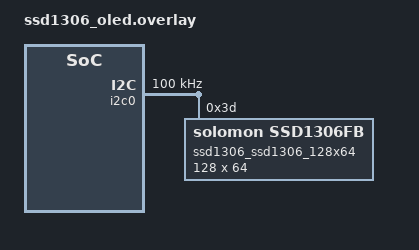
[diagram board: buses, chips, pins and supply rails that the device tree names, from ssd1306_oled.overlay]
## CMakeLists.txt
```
#
# Copyright (c) 2021 Nordic Semiconductor
#
# SPDX-License-Identifier: LicenseRef-Nordic-5-Clause
#
cmake_minimum_required(VERSION 3.20)

find_package(Zephyr REQUIRED HINTS $ENV{ZEPHYR_BASE})
#set(SHIELD ssd1306_128x64)
project(nrf_dm)

include_directories(src/inc)

# NORDIC SDK APP START
target_sources(app PRIVATE
  src/main.c
  src/scan.c
  src/peer.c
  src/color.c
)

target_sources_ifdef(CONFIG_DISTANCE_DISPLAY_OLED app PRIVATE src/display.c src/logo.c)
# NORDIC SDK APP END

zephyr_library_include_directories(${CMAKE_CURRENT_SOURCE_DIR})
```

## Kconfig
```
config INDICATOR_LED_SATURATION
    int "Indicator LED saturation in hundredths"
    default 90
config INDICATOR_LED_LUMINANCE
    int "Indicator LED luminance in hundredths"
    default 40

config DM_PEER_DELAY_MS
    int "DM Peer Delay (ms)"
    default 1000

config DM_MCPD_DISTANCE_OFFSET_CM
    int "DM Distance Offset (cm)"
    default 0

config DM_RTT_DISTANCE_OFFSET_CM
    int "DM Distance Offset (cm)"
    default 0

config DISTANCE_DISPLAY_OLED
    bool "Display distance on OLED"
    imply I2C
    select DISPLAY
    imply LVGL
    imply LV_MEM_CUSTOM
    imply LV_MEM_CUSTOM
    imply LV_USE_LOG
    imply LV_USE_LABEL
    imply LV_USE_BTN
    imply LV_USE_ARC
    imply LV_USE_IMG
    imply LV_FONT_MONTSERRAT_14
    imply LV_USE_THEME_DEFAULT
    imply LV_THEME_DEFAULT_DARK

source "Kconfig.zephyr"
```

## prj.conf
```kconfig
#
# Copyright (c) 2021 Nordic Semiconductor ASA
#
# SPDX-License-Identifier: LicenseRef-Nordic-5-Clause
#

CONFIG_LOG=y
CONFIG_LOG_MODE_MINIMAL=n

CONFIG_NEWLIB_LIBC_FLOAT_PRINTF=y
CONFIG_NEWLIB_LIBC_FLOAT_SCANF=y

# BT
CONFIG_BT=y
CONFIG_BT_DEBUG_LOG=y

CONFIG_BT_OBSERVER=y
CONFIG_BT_CENTRAL=y

CONFIG_BT_SCAN=y
CONFIG_BT_SCAN_FILTER_ENABLE=y
CONFIG_BT_SCAN_UUID_CNT=12
CONFIG_BT_SCAN_WITH_IDENTITY=y
CONFIG_BT_ID_MAX=1

CONFIG_BT_EXT_ADV=y

CONFIG_BT_DEVICE_NAME="nRF_DM"
CONFIG_BT_DDFS=y

# Distance Measurement
CONFIG_DM_MODULE=y
CONFIG_NEWLIB_LIBC=y

CONFIG_MPSL=y
CONFIG_MPSL_TIMESLOT_SESSION_COUNT=1

CONFIG_PWM=y

CONFIG_DM_HIGH_PRECISION_CALC=y
CONFIG_DM_GPIO_DEBUG=n

CONFIG_ZBUS=y
CONFIG_ZBUS_CHANNEL_NAME=y

CONFIG_SYS_HASH_FUNC32=y
CONFIG_SYS_HASH_FUNC32_MURMUR3=y

CONFIG_DM_MODULE_LOG_LEVEL_DBG=y
CONFIG_LOG_MODE_DEFERRED=y

CONFIG_DM_MCPD_DISTANCE_OFFSET_CM=128
CONFIG_DM_RTT_DISTANCE_OFFSET_CM=-550
#CONFIG_DM_INITIATOR_DELAY_US=250

CONFIG_INPUT=y
```

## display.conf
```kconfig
# Enable display
CONFIG_DISTANCE_DISPLAY_OLED=y
CONFIG_MAIN_STACK_SIZE=2048
CONFIG_LV_Z_MEM_POOL_SIZE=16384

# Display configuration
CONFIG_LV_Z_VDB_SIZE=64
CONFIG_LV_DPI_DEF=148
CONFIG_LV_Z_BITS_PER_PIXEL=1
CONFIG_LV_COLOR_DEPTH_1=y
```

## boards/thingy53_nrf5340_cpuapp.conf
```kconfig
#
# Copyright (c) 2022 Nordic Semiconductor
#
# SPDX-License-Identifier: LicenseRef-Nordic-5-Clause
#

# Distance Measurement
CONFIG_DM_MODULE_RPC=y
CONFIG_DM_MODULE_RPC_CLIENT=y

CONFIG_TEST_RANDOM_GENERATOR=y
CONFIG_MPSL=n

# NRF RPC
CONFIG_NRF_RPC_THREAD_POOL_SIZE=2

# SYSTEM WORKQUEUE
CONFIG_SYSTEM_WORKQUEUE_STACK_SIZE=3072

# NRF LOG
CONFIG_BOARD_SERIAL_BACKEND_CDC_ACM=y

CONFIG_RPMSG_NRF53_SRAM_SIZE=0x10000
```

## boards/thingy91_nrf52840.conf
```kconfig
CONFIG_BT_HCI=n
```

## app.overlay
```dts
/*
 * Copyright (c) 2023 Nordic Semiconductor ASA
 *
 * SPDX-License-Identifier: LicenseRef-Nordic-5-Clause
 */

/ {
	/* The timer instance to use. */
	chosen {
		ncs,dm-timer = &timer2;
	};

	/* The selected pins will be used by Distance Measurement module for debug purposes. */
	dm_gpio {
		compatible = "gpio-leds";
		dm_ranging: dm-ranging {
			gpios = <&gpio0 14 GPIO_ACTIVE_LOW>;
			label = "DM Ranging Pin";
		};
		dm_add_request: dm-add-request {
			gpios = <&gpio0 12 GPIO_ACTIVE_LOW>;
			label = "DM Add request Pin";
		};
	};
};
```

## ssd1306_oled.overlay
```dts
/ {
    chosen {
         zephyr,display = &ssd1306_ssd1306_128x64;
    };
};

arduino_i2c: &i2c0 {
	compatible = "nordic,nrf-twim";
	status = "okay";
	clock-frequency = <I2C_BITRATE_STANDARD>;

	pinctrl-0 = <&i2c0_default>;
	pinctrl-1 = <&i2c0_sleep>;
	pinctrl-names = "default", "sleep";
	zephyr,concat-buf-size = <1024>;	

    ssd1306_ssd1306_128x64: ssd1306@3d {
		compatible = "solomon,ssd1306fb";
		reg = <0x3d>;
		width = <128>;
		height = <64>;
		segment-offset = <0>;
		page-offset = <0>;
		display-offset = <0>;
		multiplex-ratio = <63>;
		segment-remap;
		com-invdir;
		prechargep = <0x22>;
	};
};
```

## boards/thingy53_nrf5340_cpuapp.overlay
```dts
/*
 * Copyright (c) 2023 Nordic Semiconductor ASA
 *
 * SPDX-License-Identifier: LicenseRef-Nordic-5-Clause
 */

 #include <zephyr/dt-bindings/ipc_service/static_vrings.h>

 &spi4 {
    status = "disabled";
 };

 / {
     chosen {
         /delete-property/ zephyr,ipc_shm;
     };

     reserved-memory {
         /delete-node/ memory@20070000;
 
         sram_ipc0: memory@20070000 {
             reg = <0x20070000 0x8000>;
         };
 
         sram_ipc1: memory@20078000 {
             reg = <0x20078000 0x8000>;
         };
     };
 
     ipc {
         /delete-node/ ipc0;
 
         ipc0: ipc0 {
             compatible = "zephyr,ipc-openamp-static-vrings";
             memory-region = <&sram_ipc0>;
             mboxes = <&mbox 0>, <&mbox 1>;
             mbox-names = "tx", "rx";
             role = "host";
             status = "okay";
         };
 
         ipc1: ipc1 {
             compatible = "zephyr,ipc-openamp-static-vrings";
             memory-region = <&sram_ipc1>;
             mboxes = <&mbox 2>, <&mbox 3>;
             mbox-names = "tx", "rx";
             role = "host";
             zephyr,buffer-size = <2048>;
             status = "okay";
         };
     };
 };
 
  /* Enable pin forwarding to network core. The selected pins will be used by
   * Distance Measurement module for debug purposes.
   *
   * Note: Pay attention to assign the same GPIO pins as those provide in network core DTS overlay.
   */
 &gpio_fwd {
     compatible = "nordic,nrf-gpio-forwarder";
     dm-gpio-if {
         gpios = <&gpio0 11 0>,
                 <&gpio0 12 0>;
         };
 };

&pinctrl {
    i2c0_default: i2c0_default {
        group1 {
            psels = <NRF_PSEL(TWIM_SCL, 0, 4)>,
                    <NRF_PSEL(TWIM_SDA, 0, 5)>;
        };
    };

    i2c0_sleep: i2c0_sleep {
        group1 {
            psels = <NRF_PSEL(TWIM_SCL, 0, 4)>,
                    <NRF_PSEL(TWIM_SDA, 0, 5)>;
            low-power-enable;
        };
    };
};
```

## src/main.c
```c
#include <zephyr/kernel.h>
#include <zephyr/logging/log.h>
#include <zephyr/sys/hash_function.h>
#include <zephyr/drivers/gpio.h>
#include <zephyr/drivers/pwm.h>
#include <zephyr/zbus/zbus.h>

#include <zephyr/bluetooth/bluetooth.h>

#include <dm.h>

#include <color.h>
#include <scan.h>
#include <messages.h>

LOG_MODULE_REGISTER(main, LOG_LEVEL_DBG);

#ifdef CONFIG_DISTANCE_DISPLAY_OLED
ZBUS_CHAN_DECLARE(dm_chan);
#endif

#ifdef CONFIG_BOARD_THINGY53_NRF5340_CPUAPP
static const struct pwm_dt_spec red_pwm_led =
	PWM_DT_SPEC_GET(DT_ALIAS(pwm_led0));
static const struct pwm_dt_spec green_pwm_led =
	PWM_DT_SPEC_GET(DT_ALIAS(pwm_led1));
static const struct pwm_dt_spec blue_pwm_led =
	PWM_DT_SPEC_GET(DT_ALIAS(pwm_led2));

#define PWM_PERIOD_USEC 2000

void set_led_color(uint32_t rgba_color) {
	uint8_t red = (rgba_color >> 24) & 0xFF;
	uint8_t green = (rgba_color >> 16) & 0xFF;
	uint8_t blue = (rgba_color >> 8) & 0xFF;
	uint8_t alpha = rgba_color & 0xFF;

	uint32_t red_duty = PWM_USEC((PWM_PERIOD_USEC * red * alpha) / (0xFF * 0xFF));
	uint32_t green_duty = PWM_USEC((PWM_PERIOD_USEC * green * alpha) / (0xFF * 0xFF));
	uint32_t blue_duty = PWM_USEC((PWM_PERIOD_USEC * blue * alpha) / (0xFF * 0xFF));

	uint32_t period = PWM_USEC(PWM_PERIOD_USEC);

	pwm_set_dt(&red_pwm_led, period, red_duty);	
	pwm_set_dt(&green_pwm_led, period, green_duty);
	pwm_set_dt(&blue_pwm_led, period, blue_duty);
}
#endif

void data_ready(struct dm_result *result)
{
	if (result->quality == DM_QUALITY_CRC_FAIL) {
		LOG_INF("Quality: %d", result->quality);
		LOG_INF("Poor quality measurement, not publishing");
		return;
	}

	const char *quality[DM_QUALITY_NONE + 1] = {"ok", "poor", "do not use", "crc fail", "none"};
	char addr[BT_ADDR_LE_STR_LEN];

	bt_addr_le_to_str(&result->bt_addr, addr, sizeof(addr));

	struct dm_data dm_data = {0};

	if (result->ranging_mode == DM_RANGING_MODE_MCPD) {
		dm_data.distance = result->dist_estimates.mcpd.best;
		dm_data.ranging_method = DM_RANGING_MODE_MCPD;

		dm_data.distance -= CONFIG_DM_MCPD_DISTANCE_OFFSET_CM / 100.0;
		if (dm_data.distance < 0) {
			dm_data.distance = 0;
		}
	}

	if (result->ranging_mode == DM_RANGING_MODE_RTT) {
		dm_data.distance = result->dist_estimates.rtt.rtt;
		dm_data.ranging_method = DM_RANGING_MODE_RTT;

		dm_data.distance -= CONFIG_DM_RTT_DISTANCE_OFFSET_CM / 100.0;
		if (dm_data.distance < 0) {
			dm_data.distance = 0;
		}
	}

	memcpy(dm_data.addr, addr, sizeof(addr));

	// Get my address and convert to color:

	#ifdef CONFIG_BOARD_THINGY53_NRF5340_CPUAPP
	set_led_color(addr_to_color(addr, 17));
	#endif

	#ifdef CONFIG_DISTANCE_DISPLAY_OLED
	zbus_chan_pub(&dm_chan, &dm_data, K_MSEC(500));
	#endif
	LOG_INF("Distance: %f, Quality: %s", dm_data.distance, quality[result->quality]);
}

static struct dm_cb dm_cb = {
	.data_ready = data_ready,
};


int main(void)
{
	int err;

	struct dm_init_param init_param;
	init_param.cb = &dm_cb;

	err = bt_enable(NULL);
	if (err) {
		LOG_ERR("Bluetooth failed to start (err %d)\n", err);
	}
	LOG_INF("Bluetooth initialized\n");

	err = scan_init();
	if (err) {
		LOG_ERR("Scanning failed to start (err %d)\n", err);
	}
	LOG_INF("Scanning initialized\n");

	err = dm_init(&init_param);
	if (err) {
		LOG_ERR("Distance measurement failed to start (err %d)\n", err);
	}
	LOG_INF("Distance measurement initialized\n");
}
```

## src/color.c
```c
#include <math.h>
#include <stdint.h>
#include <zephyr/logging/log.h>
#include <zephyr/bluetooth/bluetooth.h>
#include <zephyr/sys/hash_function.h>

LOG_MODULE_REGISTER(color, LOG_LEVEL_DBG);

static float hue_to_rgb(float temp1, float temp2, float hue) {
	if (hue < 0) hue += 1;
	if (hue > 1) hue -= 1;
	if (hue < 1.0 / 6.0) return temp1 + (temp2 - temp1) * 6 * hue;
	if (hue < 0.5) return temp2;
	if (hue < 2.0 / 3.0) return temp1 + (temp2 - temp1) * (2.0 / 3.0 - hue) * 6;
	return temp1;
}

static uint32_t hsl_to_rgba(float h, float s, float l) {
    float r, g, b;
    float temp1, temp2;

    if (s == 0) {
        r = g = b = l;
    } else {
        temp2 = (l < 0.5) ? (l * (1 + s)) : ((l + s) - (s * l));
        temp1 = 2 * l - temp2;


        r = hue_to_rgb(temp1, temp2, h / 360.0 + 1.0 / 3.0);
        g = hue_to_rgb(temp1, temp2, h / 360.0);
        b = hue_to_rgb(temp1, temp2, h / 360.0 - 1.0 / 3.0);
    }

    uint32_t rgba = ((uint32_t)(r * 255) << 24) | ((uint32_t)(g * 255) << 16) | ((uint32_t)(b * 255) << 8) | 0xFF;
    return rgba;
}

uint32_t addr_to_color(char *addr, size_t length) {
	// Get my address and convert to color:

	uint32_t color_hash = sys_hash32_murmur3(addr, 17);

    float hue = (color_hash % 360) * 1.0;
    float saturation = CONFIG_INDICATOR_LED_SATURATION/100.0;
    float luminance = CONFIG_INDICATOR_LED_LUMINANCE/100.0;
    uint32_t rgba = hsl_to_rgba(hue, saturation, luminance);
    LOG_INF("Color: %x", rgba);
    LOG_INF("Hue: %f Saturation: %f Luminance: %f", hue, saturation, luminance);
    return rgba;
}
```

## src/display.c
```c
#include <zephyr/kernel.h>
#include <zephyr/logging/log.h>
#include <zephyr/zbus/zbus.h>
#include <stdio.h>

#include <zephyr/drivers/display.h>
#include <lvgl.h>

#include <messages.h>

#include <dm.h>


LOG_MODULE_REGISTER(display, LOG_LEVEL_DBG);

ZBUS_CHAN_DEFINE(dm_chan, struct dm_data, NULL, NULL, ZBUS_OBSERVERS(dm_listener), ZBUS_MSG_INIT(0));

const struct dm_data *data = NULL;

static void dm_zbus_handler(const struct zbus_channel *chan) {
    data = zbus_chan_const_msg(chan);
}

ZBUS_LISTENER_DEFINE(dm_listener, dm_zbus_handler);

void display(void *p1, void *p2, void *p3)
{
    const struct device *display_dev;

	display_dev = DEVICE_DT_GET(DT_CHOSEN(zephyr_display));
    int err = device_is_ready(display_dev);
    LOG_INF("Error: %d", err);
	if (!device_is_ready(display_dev)) {
        LOG_ERR("Device not ready, aborting test");
		return;
	}

    LV_IMG_DECLARE(logo);

    lv_obj_t *logo_img = lv_img_create(lv_scr_act());
    lv_img_set_src(logo_img, &logo);
    lv_obj_align(logo_img, LV_ALIGN_CENTER, 0, 0);

    lv_obj_t *title_label = lv_label_create(lv_scr_act());
    lv_label_set_text(title_label, "Distance Toolbox");
    lv_obj_align(title_label, LV_ALIGN_BOTTOM_MID, 0, 0);
	lv_task_handler();

    k_msleep(5000);

    lv_obj_align(logo_img, LV_ALIGN_TOP_LEFT, 0, 0);
    lv_img_set_zoom(logo_img, 256);

    lv_obj_t *ranging_label = lv_label_create(lv_scr_act());

    lv_label_set_text(ranging_label, "N/A");

    lv_obj_align(ranging_label, LV_ALIGN_TOP_RIGHT, 0, 0);

    lv_obj_t *distance_label = lv_label_create(lv_scr_act());
	lv_obj_align(distance_label, LV_ALIGN_CENTER, 0, 0);

	lv_task_handler();
	display_blanking_off(display_dev);

    char dist_str[64] = "n/a m";

    while (true) {
        if (data != NULL) {
            snprintf(dist_str, 64, "%.2f m", data->distance);
        }
        lv_label_set_text(distance_label, dist_str);

        if (data->ranging_method == DM_RANGING_MODE_MCPD) {
            lv_label_set_text(ranging_label, "MCPD");
        }

        if (data->ranging_method == DM_RANGING_MODE_RTT) {
            lv_label_set_text(ranging_label, "RTT");
        }

        lv_task_handler();
        k_msleep(100);
    }
}

K_THREAD_DEFINE(display_id, 8192, display, NULL, NULL, NULL, 7, 0, 0);
```

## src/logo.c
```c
#ifdef __has_include
    #if __has_include("lvgl.h")
        #ifndef LV_LVGL_H_INCLUDE_SIMPLE
            #define LV_LVGL_H_INCLUDE_SIMPLE
        #endif
    #endif
#endif

#if defined(LV_LVGL_H_INCLUDE_SIMPLE)
    #include "lvgl.h"
#else
    #include "lvgl/lvgl.h"
#endif


#ifndef LV_ATTRIBUTE_MEM_ALIGN
#define LV_ATTRIBUTE_MEM_ALIGN
#endif

#ifndef LV_ATTRIBUTE_IMG_LOGO
#define LV_ATTRIBUTE_IMG_LOGO
#endif

const LV_ATTRIBUTE_MEM_ALIGN LV_ATTRIBUTE_LARGE_CONST LV_ATTRIBUTE_IMG_LOGO uint8_t logo_map[] = {
  0x00, 0x00, 0x00, 0x00, 	/*Color of index 0*/
  0xff, 0xff, 0xff, 0xff, 	/*Color of index 1*/

  0x0e, 0x01, 0x80, 
  0x1f, 0x06, 0xc0, 
  0x7f, 0xc8, 0xf0, 
  0xff, 0xf0, 0xf8, 
  0xbf, 0xfc, 0xfc, 
  0x9f, 0xfe, 0xfc, 
  0x87, 0xff, 0xfc, 
  0x81, 0xff, 0xfc, 
  0x80, 0x7f, 0xfc, 
  0x80, 0x3f, 0xfc, 
  0x80, 0x0f, 0xfc, 
  0x80, 0x03, 0xfc, 
  0x82, 0x00, 0xfc, 
  0x83, 0x80, 0x7c, 
  0x83, 0xc0, 0x1c, 
  0x83, 0xf0, 0x04, 
  0x63, 0xcc, 0x18, 
  0x1b, 0x03, 0x30, 
  0x06, 0x00, 0xc0, 
};

const lv_img_dsc_t logo = {
  .header.cf = LV_IMG_CF_INDEXED_1BIT,
  .header.always_zero = 0,
  .header.reserved = 0,
  .header.w = 22,
  .header.h = 19,
  .data_size = 65,
  .data = logo_map,
};
```

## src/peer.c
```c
#include <peer.h>
#include <string.h>
#include <stddef.h>
#include <zephyr/kernel.h>
#include <zephyr/bluetooth/uuid.h>

#define NUM_PEERS CONFIG_BT_SCAN_UUID_CNT

struct peer peer_array[NUM_PEERS] = {0};

int create_peer(uint64_t addr_int, uint32_t rng_seed, uint32_t support_dm_code) {
    for (int i = 0; i < NUM_PEERS; i++) {
        if (peer_array[i].is_active == false) {
            peer_array[i].addr_int = addr_int;
            peer_array[i].timestamp = 0;
            peer_array[i].rng_seed = rng_seed;

            if (support_dm_code == SUPPORT_MCPD_CODE) {
                peer_array[i].ranging_mode = RANGING_MODE_MCPD;
            }
            else if (support_dm_code == SUPPORT_RTT_CODE) {
                peer_array[i].ranging_mode = RANGING_MODE_RTT;
            }
            else {
                return -EINVAL;
            }

            return 0;
        }
    }
    return -ENOMEM;
}

int uuid_set_peer(uint64_t addr_int, struct bt_uuid_128 uuid) {
    for (int i = 0; i < NUM_PEERS; i++) {
        if (peer_array[i].addr_int == addr_int) {
            peer_array[i].uuid = uuid;
            memcpy(peer_array[i].uuid.val, uuid.val, BT_UUID_SIZE_128);
            peer_array[i].uuid.uuid.type = BT_UUID_TYPE_128;

            peer_array[i].is_active = true;
            return 0;
        }
    }
    return -ENOMEM;
}

int remove_peer(uint64_t addr_int) {
    for (int i = 0; i < NUM_PEERS; i++) {
        if (peer_array[i].is_active == true && peer_array[i].addr_int == addr_int) {
            peer_array[i].is_active = false;
            return 0;
        }
    }
    return -ENOENT;
}

struct peer * get_peer(struct bt_uuid_128 *uuid) {
    int cmp;
    for (int i = 0; i < NUM_PEERS; i++) {
        if (peer_array[i].is_active == true) {
            cmp = strncmp(peer_array[i].uuid.val, uuid->val, BT_UUID_SIZE_128);
            if (cmp == 0) {
                return &peer_array[i];
            }
        }
    }
    return NULL;
}
```

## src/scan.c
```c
// Kernel includes
#include <zephyr/kernel.h>
#include <zephyr/logging/log.h>
#include <zephyr/random/random.h>

// BLE includes
#include <zephyr/bluetooth/bluetooth.h>
#include <zephyr/bluetooth/hci.h>
#include <zephyr/bluetooth/conn.h>
#include <zephyr/bluetooth/uuid.h>
#include <zephyr/bluetooth/gatt.h>
#include <zephyr/input/input.h>
#include <bluetooth/gatt_dm.h>
#include <bluetooth/scan.h>

#include <dm.h>

#include <peer.h>

struct adv_mfg_data {
	uint16_t company_code;	    /* Company Identifier Code. */
	uint32_t support_dm_code;   /* To identify the device that supports distance measurement. */
	uint32_t rng_seed;          /* Random seed used for generating hopping patterns. */
} __packed;

// TODO add log level kconfig
LOG_MODULE_REGISTER(scan, LOG_LEVEL_DBG);

static uint64_t bt_addr_to_int(const bt_addr_le_t *addr) {
    uint64_t addr_int = 0;
    for (int i = 0; i < BT_ADDR_SIZE; i++) {
        addr_int = addr_int << 8;
        addr_int += addr->a.val[i];
    }
    return addr_int;
}

#define MCPD 0
#define RTT 1
volatile int mode_set = MCPD;

static void toggle_mode_set(struct input_event *evt) {
    if (evt->value == 0) {
        return;
    }
    if (mode_set == MCPD) {
        mode_set = RTT;
    }
    else {
        mode_set = MCPD;
    }
}

INPUT_CALLBACK_DEFINE(NULL, toggle_mode_set);

static void scan_filter_match(struct bt_scan_device_info *device_info,
                       struct bt_scan_filter_match *filter_match,
                       bool connectable)
{
    uint64_t addr_int = bt_addr_to_int(&device_info->recv_info->addr);

    if (!filter_match->uuid.match) {
        return;
    }

    static struct bt_uuid_128 *uuid;
    if (filter_match->uuid.uuid[0]->type == 2) {
        uuid = (struct bt_uuid_128 *)(filter_match->uuid.uuid[0]);
    }
    else {
        return;
    }

    struct peer *p = get_peer(uuid);
    if (p == NULL) {
        return;
    }

    uint32_t current_time = k_uptime_get();
    if (p->timestamp + CONFIG_DM_PEER_DELAY_MS < current_time) {
        p->timestamp = current_time;
    }
    else {
        return;
    }

    struct dm_request req;
    req.role = DM_ROLE_INITIATOR;

    if (p->ranging_mode == RANGING_MODE_MCPD) {
        if (mode_set == MCPD) {
            req.ranging_mode = DM_RANGING_MODE_MCPD;
        }
        else {
            return;
        }
    }
    else if (p->ranging_mode == RANGING_MODE_RTT) {
        if (mode_set == RTT) {
            req.ranging_mode = DM_RANGING_MODE_RTT;
        }
        else {
            return;
        }
    }
    else {
        return;
    }

   /* We need to make sure that we only initiate a ranging to a single peer.
    * A scan response that is received by this device can be received by
    * multiple other devices which can all start a ranging at the same time
    * as a consequence. To prevent this, we need to make sure that we set a
    * per-peer random as the random seed. This helps the ranging library to
    * avoid interference from other devices trying to range at the same time.
    *
    * This means that the initiator and the reflector need to set the same
    * value for the random seed.
    */

    bt_addr_le_copy(&req.bt_addr, device_info->recv_info->addr);

    req.rng_seed = p->rng_seed;
    req.start_delay_us = 0;
    req.extra_window_time_us = 0;

    int err = dm_request_add(&req);
    if (err) {
        LOG_ERR("Failed to add request (err %d)\n", err);
    }
}

bool validate_ndt_manufacturer_data(uint8_t *data, uint8_t data_len) {
    struct adv_mfg_data *mfg_data;

    mfg_data = (struct adv_mfg_data *)data;


    if (mfg_data->support_dm_code == 0x0D17A9CE) {
        return true;
    }

    if (mfg_data->support_dm_code == 0x1D17A9CE) {
        return true;
    }
    return false;
}

static void set_filter_uuid(struct bt_uuid_128 *uuid) {
    LOG_INF("Adding filter");

    int err;
    err = bt_scan_stop();
    if (err) {
        LOG_ERR("Scanning failed to stop (err %d)\n", err);
        return err;
    }

	err = bt_scan_filter_add(BT_SCAN_FILTER_TYPE_UUID, uuid);
	if (err) {
		LOG_ERR("Scanning filters cannot be set (err %d)\n", err);
		return err;
	}

	err = bt_scan_filter_enable(BT_SCAN_UUID_FILTER, false);
	if (err) {
		LOG_ERR("Filters cannot be turned on (err %d)\n", err);
		return err;
	}

    err = bt_scan_start(BT_SCAN_TYPE_SCAN_ACTIVE);
    if (err) {
        LOG_ERR("Scanning failed to start (err %d)\n", err);
        return err;
    }
}

static bool ndt_supported(struct bt_data *data, void *user_data) {
    int err;
    volatile uint64_t addr = *(uint64_t *)user_data;
    switch(data->type) {
        case BT_DATA_MANUFACTURER_DATA:
            struct adv_mfg_data mfg_data = *(struct adv_mfg_data *)data->data;
            if (validate_ndt_manufacturer_data(data->data, data->data_len)) {
                err = create_peer(addr, mfg_data.rng_seed, mfg_data.support_dm_code);
                if (err) {
                    LOG_ERR("Failed to create peer (err %d)\n", err);
                }
            }
            break;
        case BT_DATA_UUID128_ALL:
            struct bt_uuid_128 uuid;

            memcpy(uuid.val, data->data, BT_UUID_SIZE_128);
            uuid.uuid.type = BT_UUID_TYPE_128;

            err = uuid_set_peer(addr, uuid);
            if (err) {
                LOG_ERR("Failed to set peer uuid (err %d)\n", err);
                LOG_ERR("UUID: %s", bt_uuid_str(&uuid));
            } 
            else {
                set_filter_uuid(&uuid);
            }
            break;
        default:
            return true;
    }
    return true;
}

static void scan_filter_no_match(struct bt_scan_device_info *device_info,
                          bool connectable)
{
    uint64_t addr_int = bt_addr_to_int(&device_info->recv_info->addr);

    switch (device_info->recv_info->adv_type) {
        case BT_GAP_ADV_TYPE_SCAN_RSP:
        case BT_GAP_ADV_TYPE_EXT_ADV:
            bt_data_parse(device_info->adv_data, ndt_supported, &addr_int);
            break;
        default:
            break;
    }
}

BT_SCAN_CB_INIT(scan_cb, scan_filter_match, scan_filter_no_match, NULL, NULL);

// Scan without sending scan requests automatically
static struct bt_le_scan_param scan_param = {
    .type = BT_LE_SCAN_TYPE_ACTIVE,
    .interval = BT_GAP_SCAN_FAST_INTERVAL,
    .window = BT_GAP_SCAN_FAST_WINDOW,
    .options = BT_LE_SCAN_OPT_FILTER_DUPLICATE,
    .timeout = 0,
};

int scan_init(void)
{
	int err;

	struct bt_scan_init_param scan_init = {
		.connect_if_match = false,
		.scan_param = &scan_param,
		.conn_param = BT_LE_CONN_PARAM_DEFAULT
	};

	bt_scan_init(&scan_init);
	bt_scan_cb_register(&scan_cb);

    err = bt_scan_start(BT_SCAN_TYPE_SCAN_ACTIVE);
    if (err) {
        LOG_ERR("Scanning failed to start (err %d)\n", err);
        return err;
    }

    return 0;
}
```
